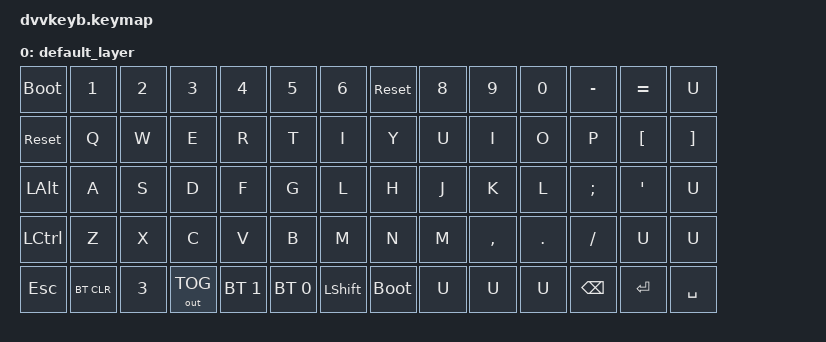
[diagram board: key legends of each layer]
#include <behaviors.dtsi>
#include <dt-bindings/zmk/keys.h>
#include <dt-bindings/zmk/bt.h>
#include <dt-bindings/zmk/ext_power.h>
#include <dt-bindings/zmk/outputs.h>
#include "dvvkeyb.dtsi" 

/ {
    keymap {
        compatible = "zmk,keymap";
        transform = &zmk_matrix_transform_default;
        default_layer {
            bindings = <
                &bootloader   &kp N1      &kp N2      &kp N3        &kp N4        &kp N5        &kp N6         &sys_reset    &kp N8      &kp N9      &kp N0      &kp MINUS   &kp EQUAL       &kp U
                &sys_reset    &kp Q       &kp W       &kp E         &kp R         &kp T         &kp I         &kp Y         &kp U       &kp I       &kp O       &kp P       &kp LBKT        &kp RBKT
                &kp LALT      &kp A       &kp S       &kp D         &kp F         &kp G         &kp L         &kp H         &kp J       &kp K       &kp L       &kp SEMI    &kp SQT         &kp U
                &kp LCTRL     &kp Z       &kp X       &kp C         &kp V         &kp B         &kp M         &kp N         &kp M       &kp COMMA   &kp DOT     &kp FSLH    &kp U           &kp U
                &kp ESC       &bt BT_CLR  &kp N3      &out OUT_TOG  &bt BT_SEL 1  &bt BT_SEL 0  &kp LSHIFT    &bootloader   &kp U       &kp U       &kp U       &kp BSPC    &kp RET         &kp SPACE
            >;
        };
    };
};
